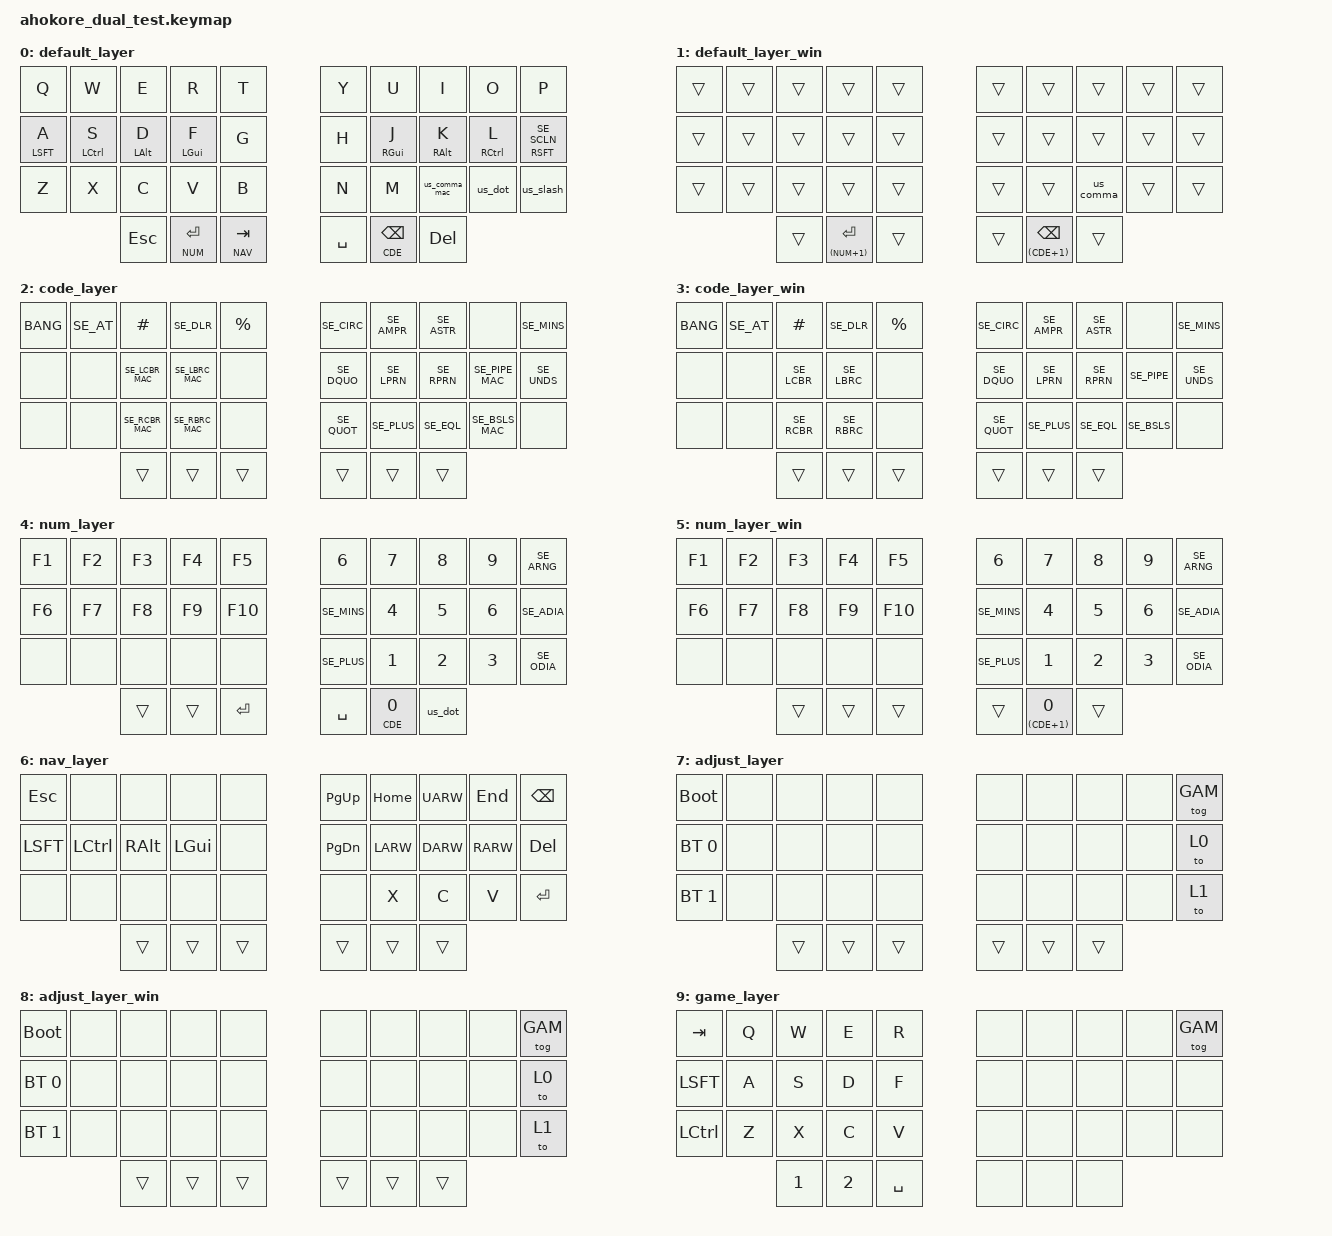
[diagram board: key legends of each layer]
/*
 * Copyright (c) 2020 The ZMK Contributors
 *
 * SPDX-License-Identifier: MIT
 */

#include <behaviors.dtsi>
#include <dt-bindings/zmk/keys.h>
#include <dt-bindings/zmk/bt.h>
#include "se_us.dtsi"

#define CDE   2
#define NUM   4
#define NAV   6
#define ADJ   7
#define GAM   9

/ {

    conditional_layers_mac {
        compatible = "zmk,conditional-layers";
        tri_layer_mac {
            if-layers = <CDE NUM>;
            then-layer = <ADJ>;
        };
    };

    conditional_layers_win {
        compatible = "zmk,conditional-layers";
        tri_layer_win {
            if-layers = <(CDE+1) (NUM+1)>;
            then-layer = <(ADJ+1)>;
        };
    };

    behaviors {
        lhm: left_homerow_mods {
            compatible = "zmk,behavior-hold-tap";
            label = "LEFT_HOMEROW_MODS";
            #binding-cells = <2>;
            flavor = "hold-preferred";
            tapping-term-ms = <400>;
            quick-tap-ms = <200>;
            retro-tap;
            bindings = <&kp>, <&kp>;
            hold-trigger-key-positions = <5>, <6>, <7>, <8>, <9>, <15>, <16>, <17>, <18>, <19>, <25>, <26>, <27>, <28>, <29>, <33>, <34>, <35>;
        };
        rhm: right_homerow_mods {
            compatible = "zmk,behavior-hold-tap";
            label = "RIGHT_HOMEROW_MODS";
            #binding-cells = <2>;
            flavor = "balanced";
            tapping-term-ms = <400>;
            quick-tap-ms = <200>;
            retro-tap;
            bindings = <&kp>, <&kp>;
            hold-trigger-key-positions = <0>, <1>, <2>, <3>, <4>, <10>, <11>, <12>, <13>, <14>, <20>, <21>, <22>, <23>, <24>, <30>, <31>, <32>;
        };

        rhm_scln: right_homerow_mods_scln {
            compatible = "zmk,behavior-hold-tap";
            label = "RIGHT_HOMEROW_MODS_SEMICOLON";
            #binding-cells = <2>;
            flavor = "balanced";
            tapping-term-ms = <400>;
            quick-tap-ms = <200>;
            retro-tap;
            bindings = <&kp>, <&us_scln>;
            hold-trigger-key-positions = <0>, <1>, <2>, <3>, <4>, <10>, <11>, <12>, <13>, <14>, <20>, <21>, <22>, <23>, <24>, <30>, <31>, <32>;
        };

        ltr: behavior_layer_tap_retro {
            compatible = "zmk,behavior-hold-tap";
            label = "LAYER_TAP_RETRO";
            #binding-cells = <2>;
            flavor = "balanced";
            retro-tap;
            tapping-term-ms = <200>;
            bindings = <&mo>, <&kp>;
        };
    };

    keymap {
        compatible = "zmk,keymap";

        default_layer {
            bindings = <
&kp Q       &kp W       &kp E       &kp R       &kp T          &kp Y   &kp U        &kp I            &kp O       &kp P
&lhm LSFT A &lhm LCTL S &lhm LALT D &lhm LGUI F &kp G          &kp H   &rhm RGUI J  &rhm RALT K      &rhm RCTL L &rhm_scln RSFT SE_SCLN
&kp Z       &kp X       &kp C       &kp V       &kp B          &kp N   &kp M        &us_comma_mac    &us_dot     &us_slash
                        &kp ESC     &lt NUM RET &lt NAV TAB    &kp SPC &lt CDE BKSP &kp DEL
            >;
        };

        default_layer_win {
            bindings = <
&trans &trans &trans &trans          &trans             &trans &trans           &trans    &trans &trans
&trans &trans &trans &trans          &trans             &trans &trans           &trans    &trans &trans
&trans &trans &trans &trans          &trans             &trans &trans           &us_comma &trans &trans
              &trans &lt (NUM+1) RET &trans             &trans &lt (CDE+1) BKSP &trans
            >;
        };

        code_layer {
            bindings = <
&kp BANG  &kp SE_AT &kp HASH         &kp SE_DLR       &kp PRCNT       &kp SE_CIRC  &kp SE_AMPR  &kp SE_ASTR &none            &kp SE_MINS
&none     &none     &kp SE_LCBR_MAC  &kp SE_LBRC_MAC  &none           &kp SE_DQUO  &kp SE_LPRN  &kp SE_RPRN &kp SE_PIPE_MAC  &kp SE_UNDS
&none     &none     &kp SE_RCBR_MAC  &kp SE_RBRC_MAC  &none           &kp SE_QUOT  &kp SE_PLUS  &kp SE_EQL  &kp SE_BSLS_MAC  &none
                    &trans           &trans           &trans          &trans       &trans       &trans
            >;
        };

        code_layer_win {
            bindings = <
&kp BANG  &kp SE_AT &kp HASH     &kp SE_DLR   &kp PRCNT       &kp SE_CIRC  &kp SE_AMPR  &kp SE_ASTR &none        &kp SE_MINS
&none     &none     &kp SE_LCBR  &kp SE_LBRC  &none           &kp SE_DQUO  &kp SE_LPRN  &kp SE_RPRN &kp SE_PIPE  &kp SE_UNDS
&none     &none     &kp SE_RCBR  &kp SE_RBRC  &none           &kp SE_QUOT  &kp SE_PLUS  &kp SE_EQL  &kp SE_BSLS  &none
          &trans    &trans       &trans                       &trans       &trans       &trans
            >;
        };

        num_layer {
            bindings = <
&kp F1    &kp F2    &kp F3    &kp F4    &kp F5           &kp N6      &kp N7       &kp N8   &kp N9   &kp SE_ARNG
&kp F6    &kp F7    &kp F8    &kp F9    &kp F10          &kp SE_MINS &kp N4       &kp N5   &kp N6   &kp SE_ADIA
&none     &none     &none     &none     &none            &kp SE_PLUS &kp N1       &kp N2   &kp N3   &kp SE_ODIA
                    &trans    &trans    &kp RET          &kp SPC     &ltr CDE N0  &us_dot
            >;
        };

        num_layer_win {
            bindings = <
&kp F1    &kp F2    &kp F3    &kp F4    &kp F5           &kp N6      &kp N7          &kp N8   &kp N9   &kp SE_ARNG
&kp F6    &kp F7    &kp F8    &kp F9    &kp F10          &kp SE_MINS &kp N4          &kp N5   &kp N6   &kp SE_ADIA
&none     &none     &none     &none     &none            &kp SE_PLUS &kp N1          &kp N2   &kp N3   &kp SE_ODIA
                    &trans    &trans    &trans           &trans      &ltr (CDE+1) N0 &trans
            >;
        };

        nav_layer {
            bindings = <
&kp ESC  &none    &none    &none    &none      &kp PG_UP &kp HOME &kp UARW &kp END  &kp BKSP
&kp LSFT &kp LCTL &kp RALT &kp LGUI &none      &kp PG_DN &kp LARW &kp DARW &kp RARW &kp DEL
&none    &none    &none    &none    &none      &none     &kp X    &kp C    &kp V    &kp RET
                  &trans   &trans   &trans     &trans    &trans   &trans
            >;
        };

        adjust_layer {
            bindings = <
&bootloader  &none &none  &none  &none       &none  &none  &none &none &tog GAM
&bt BT_SEL 0 &none &none  &none  &none       &none  &none  &none &none &to 0
&bt BT_SEL 1 &none &none  &none  &none       &none  &none  &none &none &to 1
                   &trans &trans &trans      &trans &trans &trans
            >;
        };

        adjust_layer_win {
            bindings = <
&bootloader  &none &none  &none  &none       &none  &none  &none &none &tog GAM
&bt BT_SEL 0 &none &none  &none  &none       &none  &none  &none &none &to 0
&bt BT_SEL 1 &none &none  &none  &none       &none  &none  &none &none &to 1
                   &trans &trans &trans      &trans &trans &trans
            >;
        };
        game_layer {
            bindings = <
&kp TAB  &kp Q  &kp W  &kp E  &kp R          &none &none &none &none &tog GAM
&kp LSFT &kp A  &kp S  &kp D  &kp F          &none &none &none &none &none
&kp LCTL &kp Z  &kp X  &kp C  &kp V          &none &none &none &none &none
                &kp N1 &kp N2 &kp SPC        &none &none &none
            >;
        };

    };
};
